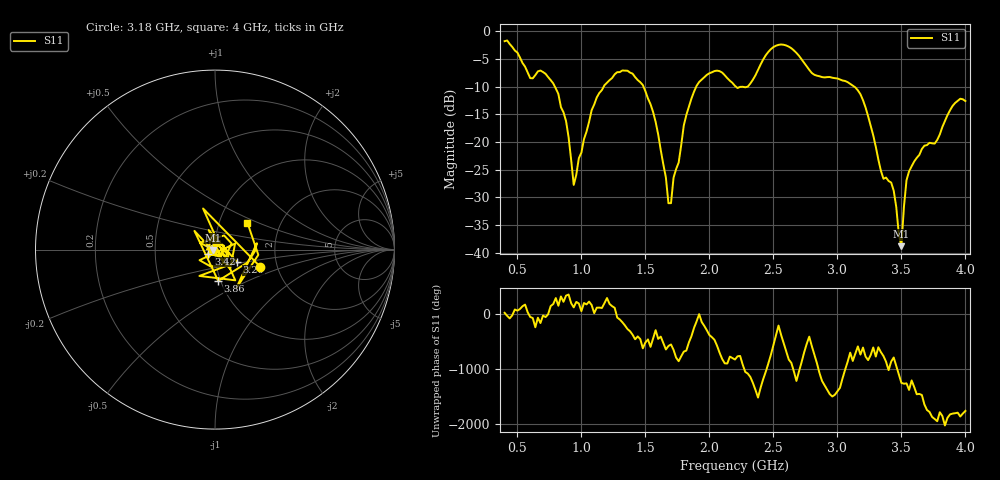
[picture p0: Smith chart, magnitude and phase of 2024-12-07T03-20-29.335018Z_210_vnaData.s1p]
!Created with skrf (http://scikit-rf.org).
# Hz S RI R 50.0
!freq ReS11 ImS11
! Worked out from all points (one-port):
!   181 points, 400 MHz to 4 GHz, reference 50 ohm
!   lowest |S11| = -38.9 dB at 3.5 GHz (marker M1), VSWR 1.02, Z = 48.9 - j0.142 ohm
!   |S11| at or under -10 dB: 792.9 MHz to 1.174 GHz (381.4 MHz wide, 38.8 % of centre); 1.485 GHz to 1.897 GHz (411.9 MHz wide, 24.4 % of centre); 3.132 GHz to end of sweep (the widest 3 of 4)
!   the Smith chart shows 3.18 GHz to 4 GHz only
!   S11 on the Smith chart (normalised r, x): 3.18 GHz: 1.63, -0.34; 3.26 GHz: 1.26, -0.18; 3.42 GHz: 0.93, -0.04; 3.86 GHz: 0.97, -0.35; 4 GHz: 1.36, +0.43
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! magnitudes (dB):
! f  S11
! 400 MHz  -1.8
! 600 MHz  -8.5
! 720 MHz  -7.7
! 860 MHz  -14.6
! 940 MHz  -27.8
! 1.12 GHz  -11.9
! 1.3 GHz  -7.4
! 1.54 GHz  -13.2
! 1.68 GHz  -31.1
! 1.76 GHz  -23.7
! 1.82 GHz  -15.1
! 1.92 GHz  -9.1
! 2.06 GHz  -7.1
! 2.2 GHz  -9.9
! 2.3 GHz  -10.0
! 2.5 GHz  -2.8
! 2.66 GHz  -3.4
! 2.82 GHz  -7.9
! 3.1 GHz  -9.5
! 3.18 GHz  -11.4
! 3.26 GHz  -17.0
! 3.36 GHz  -26.7
! 3.42 GHz  -27.3
! 3.5 GHz  -38.9
! 3.54 GHz  -26.9
! 3.56 GHz  -25.3
! 3.86 GHz  -15.2
! 4 GHz  -12.6
